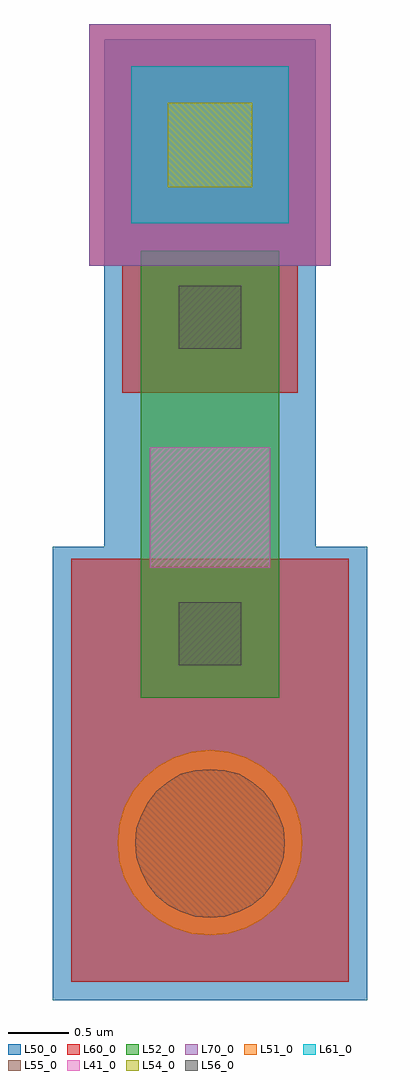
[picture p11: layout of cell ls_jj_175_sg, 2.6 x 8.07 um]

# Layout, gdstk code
import gdstk
lib = gdstk.Library(unit=1e-6, precision=1e-09)
def R(c, l, rs):  # rectangles x0, y0, x1, y1
    for r in rs: c.add(gdstk.rectangle(r[:2], r[2:], *l))
def P(c, l, *ps):  # polygons
    for p in ps: c.add(gdstk.Polygon(p, *l))
L41_0 = (41, 0)
L50_0 = (50, 0)
L51_0 = (51, 0)
L52_0 = (52, 0)
L54_0 = (54, 0)
L55_0 = (55, 0)
L56_0 = (56, 0)
L60_0 = (60, 0)
L61_0 = (61, 0)
L70_0 = (70, 0)

ls_conn_m5m6m7 = lib.new_cell('ls_conn_M5M6M7')
R(ls_conn_m5m6m7, L50_0, [(-0.5,-0.5,1.2,1.2)])
R(ls_conn_m5m6m7, L54_0, [(0,0,0.7,0.7)])
R(ls_conn_m5m6m7, L60_0, [(-0.65,-0.65,1.35,1.35)])
R(ls_conn_m5m6m7, L61_0, [(-0.3,-0.3,1,1)])
R(ls_conn_m5m6m7, L70_0, [(-0.65,-0.65,1.35,1.35)])

ls_jj_175_sg = lib.new_cell('ls_jj_175_sg')
R(ls_jj_175_sg, L41_0, [(-0.5,2.275,0.5,3.275)])
R(ls_jj_175_sg, L50_0, [(-1.3,-1.3,1.3,2.45), (-0.875,2.45,0.875,6.65)])
P(ls_jj_175_sg, L51_0, [(0,-0.765),(0.15,-0.75),(0.295,-0.705),(0.425,-0.635),(0.54,-0.54),(0.635,-0.425),(0.71,-0.29),(0.75,-0.15),(0.765,0),(0.75,0.15),(0.71,0.295),(0.635,0.43),(0.54,0.545),(0.425,0.64),(0.295,0.71),(0.15,0.755),(0,0.77),(-0.15,0.755),(-0.295,0.71),(-0.425,0.64),(-0.54,0.545),(-0.635,0.43),(-0.71,0.295),(-0.75,0.15),(-0.765,0),(-0.75,-0.15),(-0.71,-0.29),(-0.635,-0.425),(-0.54,-0.54),(-0.425,-0.635),(-0.295,-0.705),(-0.15,-0.75)])
R(ls_jj_175_sg, L52_0, [(-0.575,1.2,0.575,4.9)])
R(ls_jj_175_sg, L54_0, [(-0.35,5.425,0.35,6.125)])
P(ls_jj_175_sg, L55_0, [(0,-0.62),(0.12,-0.61),(0.24,-0.57),(0.34,-0.52),(0.44,-0.44),(0.51,-0.35),(0.57,-0.24),(0.61,-0.12),(0.62,0),(0.61,0.12),(0.57,0.23),(0.51,0.34),(0.44,0.43),(0.34,0.51),(0.24,0.57),(0.12,0.6),(0,0.61),(-0.12,0.6),(-0.24,0.57),(-0.34,0.51),(-0.44,0.43),(-0.51,0.34),(-0.57,0.23),(-0.61,0.12),(-0.62,0),(-0.61,-0.12),(-0.57,-0.24),(-0.51,-0.35),(-0.44,-0.44),(-0.34,-0.52),(-0.24,-0.57),(-0.12,-0.61)])
R(ls_jj_175_sg, L56_0, [(-0.26,1.47,0.26,1.99), (-0.26,4.09,0.26,4.61)])
R(ls_jj_175_sg, L60_0, [(-1.15,-1.15,1.15,2.35), (-0.725,3.725,0.725,6.5)])
ls_jj_175_sg.add(gdstk.Reference(ls_conn_m5m6m7, (-0.35,5.425)))

lib.write_gds('ls_jj_175_sg.gds')
